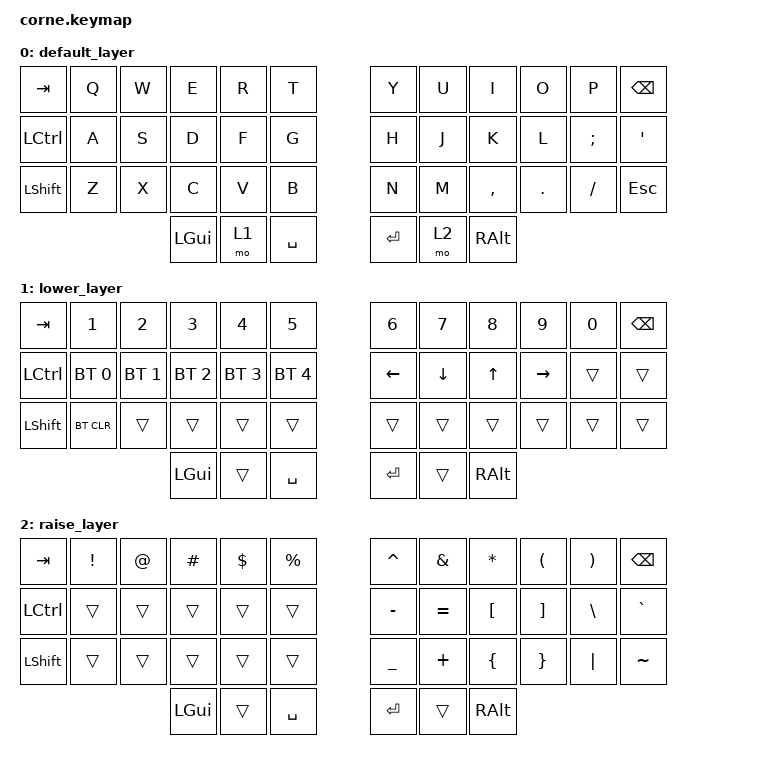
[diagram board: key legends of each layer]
/*
 * Copyright (c) 2020 The ZMK Contributors
 *
 * SPDX-License-Identifier: MIT
 */

#include <behaviors.dtsi>
#include <dt-bindings/zmk/keys.h>
#include <dt-bindings/zmk/bt.h>


/ {
        macros {
                /**
                 * Macro that combines all four modifier keys: Command + Option + Shift + Control
                 * This creates a unique key combination that's unlikely to conflict with existing shortcuts
                 */
                four_mods: four_mods {
                        compatible = "zmk,behavior-macro";
                        #binding-cells = <0>;
                        wait-ms = <40>;
                        tap-ms = <40>;
                        bindings
                                = <&macro_press &kp LGUI &kp LALT &kp LSHIFT &kp LCTRL>
                                , <&macro_pause_for_release>
                                , <&macro_release &kp LGUI &kp LALT &kp LSHIFT &kp LCTRL>
                                ;
                };
        };

        keymap {
                compatible = "zmk,keymap";

                default_layer {
// -----------------------------------------------------------------------------------------
// |  TAB |  Q  |  W  |  E  |  R  |  T  |   |  Y  |  U   |  I  |  O  |  P  | BKSP |
// | CTRL |  A  |  S  |  D  |  F  |  G  |   |  H  |  J   |  K  |  L  |  ;  |  '   |
// | SHFT |  Z  |  X  |  C  |  V  |  B  |   |  N  |  M   |  ,  |  .  |  /  | ESC  |
//                    | GUI | LWR | SPC |   | ENT | RSE  | ALT |
                        bindings = <
   &kp TAB   &kp Q &kp W &kp E &kp R &kp T   &kp Y &kp U  &kp I     &kp O   &kp P    &kp BSPC
   &kp LCTRL &kp A &kp S &kp D &kp F &kp G   &kp H &kp J  &kp K     &kp L   &kp SEMI &kp SQT
   &kp LSHFT &kp Z &kp X &kp C &kp V &kp B   &kp N &kp M  &kp COMMA &kp DOT &kp FSLH &kp ESC
                  &kp LGUI &mo 1 &kp SPACE   &kp RET &mo 2 &kp RALT
                        >;
                };
                lower_layer {
// -----------------------------------------------------------------------------------------
// |  TAB |  1      |  2  |  3  |  4  |  5  |   |  6  |  7  |  8  |  9  |  0  | BKSP |
// | CTRL | BT1     | BT2 | BT3 | BT4 | BT5 |   | LFT | DWN |  UP | RGT |     |      |
// | SHFT | BTLCLR  |     |     |     |     |   |     |     |     |     |     |      |
//                        | GUI |     | SPC |   | ENT |     | ALT |
                        bindings = <
   &kp TAB    &kp N1       &kp N2       &kp N3       &kp N4       &kp N5         &kp N6   &kp N7   &kp N8 &kp N9    &kp N0 &kp BSPC
   &kp LCTRL &bt BT_SEL 0 &bt BT_SEL 1 &bt BT_SEL 2 &bt BT_SEL 3 &bt BT_SEL 4   &kp LEFT &kp DOWN &kp UP &kp RIGHT &trans &trans
   &kp LSHFT  &bt BT_CLR   &trans       &trans       &trans       &trans         &trans   &trans   &trans &trans    &trans &trans
                                    &kp LGUI     &trans       &kp SPACE      &kp RET  &trans   &kp RALT
                        >;
                };

                raise_layer {
// -----------------------------------------------------------------------------------------
// |  TAB |  !  |  @  |  #  |  $  |  %  |   |  ^  |  &  |  *  |  (  |  )  | BKSP |
// | CTRL |     |     |     |     |     |   |  -  |  =  |  [  |  ]  |  \  |  `   |
// | SHFT |     |     |     |     |     |   |  _  |  +  |  {  |  }  | "|" |  ~   |
//                    | GUI |     | SPC |   | ENT |     | ALT |
                        bindings = <
   &kp  TAB  &kp EXCL &kp AT &kp HASH &kp DLLR &kp PRCNT   &kp CARET &kp AMPS  &kp ASTRK &kp LPAR &kp RPAR &kp BSPC
   &kp LCTRL &trans   &trans &trans   &trans   &trans      &kp MINUS &kp EQUAL &kp LBKT  &kp RBKT &kp BSLH &kp GRAVE
   &kp LSHFT &trans   &trans &trans   &trans   &trans      &kp UNDER &kp PLUS  &kp LBRC  &kp RBRC &kp PIPE &kp TILDE
                             &kp LGUI &trans   &kp SPACE   &kp RET   &trans    &kp RALT
                        >;
                };
        };
};
